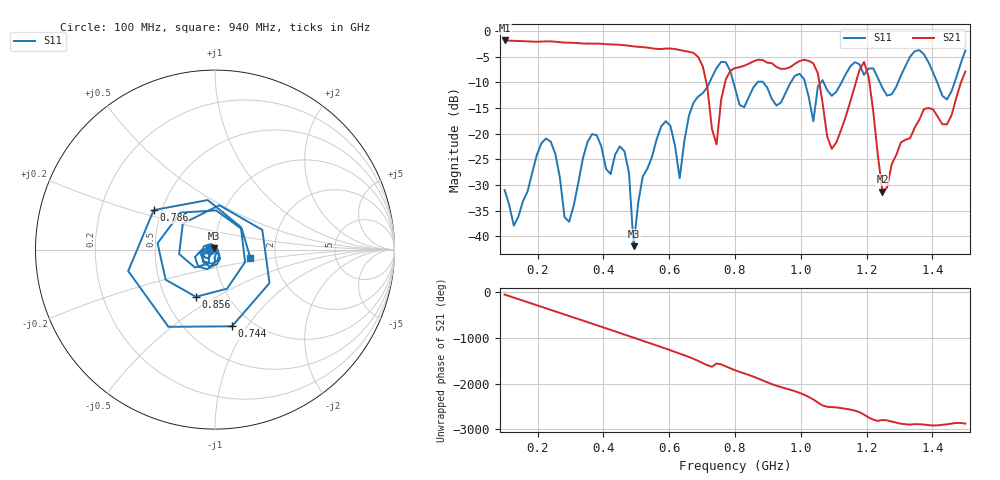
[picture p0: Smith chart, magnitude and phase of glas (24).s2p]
! NanoVNA-App
! Date: 2025-09-25 15:55:39
! Start: 100MHz Stop: 1,5GHz Points: 101
! S-Parameter data: F S11 S21 S12 S22
# Hz S RI R 50
!  Frequency  S11_Real  S11_Imag  S21_Real  S21_Imag  S12_Real  S12_Imag  S22_Real  S22_Imag
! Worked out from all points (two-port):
!   101 points, 100 MHz to 1.5 GHz, reference 50 ohm
!   highest |S21| = -1.80 dB at 100 MHz (marker M1); lowest = -31.3 dB at 1.248 GHz (marker M2)
!   |S21| within 3 dB of the highest: start of sweep to 684.1 MHz
!   lowest |S11| = -41.9 dB at 492 MHz (marker M3), VSWR 1.02, Z = 49.5 + j0.621 ohm
!   |S11| at or under -10 dB: start of sweep to 722.5 MHz; 795.3 MHz to 868 MHz (72.64 MHz wide, 8.73 % of centre); 885.9 MHz to 969.2 MHz (83.29 MHz wide, 8.98 % of centre) (the widest 3 of 7)
!   S12 and S22 are empty: the file has one direction only
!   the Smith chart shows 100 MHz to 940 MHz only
!   S11 on the Smith chart (normalised r, x): 100 MHz: 0.95, -0.01; 744 MHz: 0.81, -0.85; 786 MHz: 0.45, +0.24; 856 MHz: 0.71, -0.41; 940 MHz: 1.48, -0.14
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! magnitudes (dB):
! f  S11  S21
! 100 MHz  -31.0  -1.8
! 128 MHz  -37.9  -1.9
! 226 MHz  -20.9  -2.0
! 296 MHz  -37.2  -2.2
! 338 MHz  -24.8  -2.4
! 464 MHz  -23.4  -2.7
! 492 MHz  -41.9  -3.0
! 576 MHz  -18.5  -3.5
! 632 MHz  -28.7  -3.7
! 702 MHz  -12.1  -6.8
! 744 MHz  -7.2  -22.1
! 786 MHz  -7.8  -7.7
! 800 MHz  -11.1  -7.2
! 856 MHz  -10.9  -5.9
! 940 MHz  -13.9  -7.4
! 996 MHz  -8.3  -5.8
! 1.038 GHz  -17.6  -6.2
! 1.094 GHz  -12.6  -22.9
! 1.192 GHz  -8.5  -6.0
! 1.248 GHz  -11.1  -31.3
! 1.276 GHz  -12.3  -26.0
! 1.5 GHz  -3.8  -7.9
